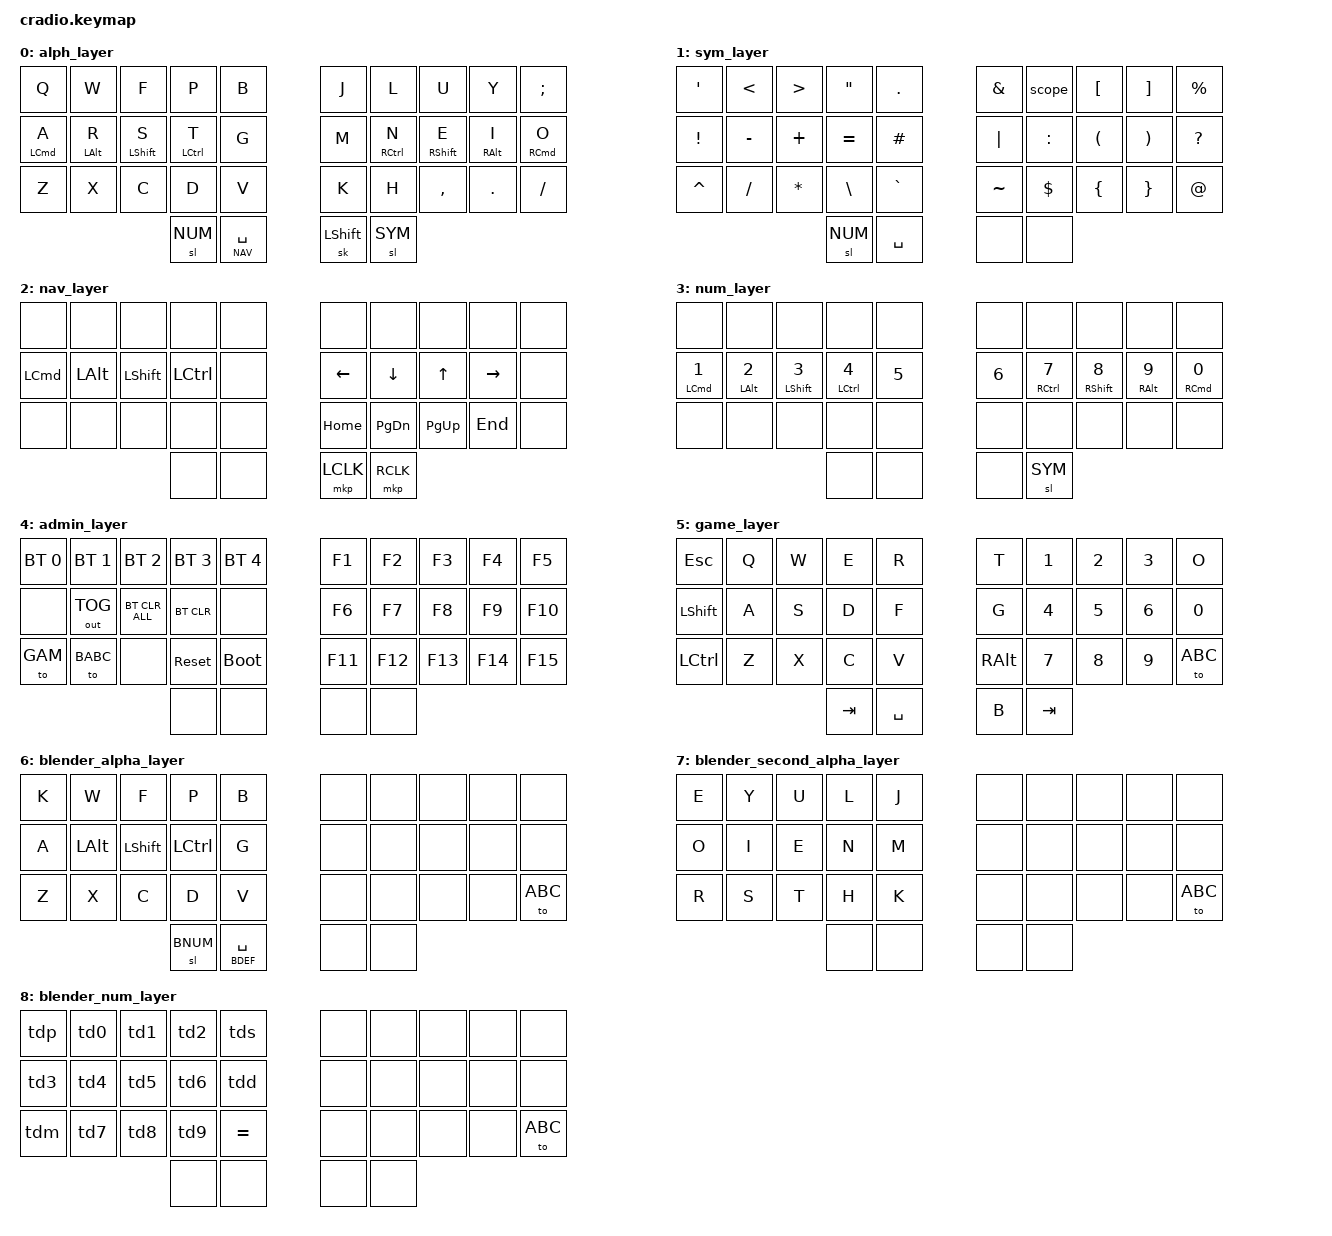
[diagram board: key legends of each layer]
// Copyright (c) 2022 The ZMK Contributors
// SPDX-License-Identifier: MIT

#include <behaviors.dtsi>
#include <dt-bindings/zmk/bt.h>
#include <dt-bindings/zmk/keys.h>
#include <dt-bindings/zmk/mouse.h>
#include <dt-bindings/zmk/outputs.h>

#define ABC 0
#define SYM 1
#define NAV 2
#define NUM 3
#define ADM 4

#define GAM 5

#define BABC 6
#define BDEF 7
#define BNUM 8

/* clang-format off */

&sk {
	release-after-ms = <900>;
	quick-release;
};

&caps_word {
	/delete-property/ ignore-modifiers;
	continue-list = <UNDERSCORE MINUS BACKSPACE DELETE LSHFT RSHFT>;
};
// LAYER TEMPLATE & KEY INDICES \\

/* ╭───────────────┬───────────────┬───────────────┬───────────────┬───────────────╮╭───────────────┬───────────────┬───────────────┬───────────────┬───────────────╮
   │               │               │               │               │               ││               │               │               │               │               │
   │       0       │       1       │       2       │       3       │       4       ││       5       │       6       │       7       │       8       │       9       │
   │               │               │               │               │               ││               │               │               │               │               │
   │               │               │               │               │               ││               │               │               │               │               │ */
   // &none        &none           &none           &none           &none            &none           &none           &none           &none           &none
/* ├───────────────┼───────────────┼───────────────┼───────────────┼───────────────┤├───────────────┼───────────────┼───────────────┼───────────────┼───────────────┤
   │               │               │               │               │               ││               │               │               │               │               │
   │      10       │      11       │      12       │      13       │      14       ││      15       │      16       │      17       │      18       │      19       │
   │               │               │               │               │               ││               │               │               │               │               │
   │               │               │               │               │               ││               │               │               │               │               │ */
   // &none        &none           &none           &none           &none            &none           &none           &none           &none           &none
/* ├───────────────┼───────────────┼───────────────┼───────────────┼───────────────┤├───────────────┼───────────────┼───────────────┼───────────────┼───────────────┤
   │               │               │               │               │               ││               │               │               │               │               │
   │      20       │      21       │      22       │      23       │      24       ││      25       │      26       │      27       │      28       │      29       │
   │               │               │               │               │               ││               │               │               │               │               │
   │               │               │               │               │               ││               │               │               │               │               │ */
   // &none        &none           &none           &none           &none            &none           &none           &none           &none           &none
/* ╰───────────────┴───────────────┴───────────────┼───────────────┼───────────────┤├───────────────┼───────────────┼───────────────┴───────────────┴───────────────╯
                                                   │               │               ││               │               │
                                                   │      30       │       31      ││      32       │      33       │
                                                   │               │               ││               │               │
                                                   │               │               ││               │               │                                                 */
			                                       // &none        &none            &none           &none
/*                                                 ╰───────────────┴───────────────╯╰───────────────┴───────────────╯                                                 */

/ {
	combos {
		compatible = "zmk,combos";
		combo_esc {
			timeout-ms = <25>;
			key-positions = <1 2>;
			layers = <0 1 2 3 4 6 7 8>;
			bindings = <&kp ESC>;
		};

		combo_tab {
			timeout-ms = <25>;
			key-positions = <11 12>;
			layers = <0 1 2 3 4 6 7 8>;
			bindings = <&kp TAB>;
		};

		combo_ret {
			timeout-ms = <25>;
			key-positions = <17 18>;
			layers = <0 1 2 3 4>;
			bindings = <&kp RET>;
		};

		combo_bspc {
			timeout-ms = <25>;
			key-positions = <7 8>;
			layers = <0 1 2 3 4>;
			bindings = <&kp BSPC>;
		};

		combo_del {
			timeout-ms = <25>;
			key-positions = <8 9>;
			layers = <0 1 2 3 4>;
			bindings = <&kp DEL>;
		};

		combo_caps_word {
			timeout-ms = <25>;
			key-positions = <10 11>;
			layers = <0 1 2 3 4>;
			bindings = <&caps_word>;
		};

		combo_apos {
			timeout-ms = <25>;
			key-positions = <27 28>;
			layers = <0 1 2 3 4>;
			bindings = <&kp APOS>;
		};

		combo_under {
			timeout-ms = <25>;
			key-positions = <21 22>;
			layers = <0 1 2 3 4>;
			bindings = <&kp UNDER>;
		};

		combo_admin {
			timeout-ms = <25>;
			key-positions = <31 32>;
			layers = <0 1 2 3 4>;
			bindings = <&mo ADM>;
		};
	};
};

/ {
	macros {

	scope:
		scope {
			compatible = "zmk,behavior-macro";
			wait-ms = <0>;
			tap-ms = <0>;
            #binding-cells = <0>;
			bindings = < &macro_tap &kp COLON >, < &macro_tap &kp COLON > ;
		};

	};
};

#define KEYS_L 0 1 2 3 4 10 11 12 13 14 20 21 22 23 24 // left hand
#define KEYS_R 5 6 7 8 9 15 16 17 18 19 25 26 27 28 29 // right hand
#define THUMBS 30 31 32 33                             // thumbs

/ {
	behaviors {
	ht:
		hold_tap {
			compatible = "zmk,behavior-hold-tap";
			#binding-cells = <2>;
			flavor = "tap-preferred";
			tapping-term-ms = <200>;
			quick-tap-ms = <175>;
			require-prior-idle-ms = <100>;
			bindings = <&kp>, <&kp>;
		};

	hm:
		home_row_mod {
			compatible = "zmk,behavior-hold-tap";
			#binding-cells = <2>;
			flavor = "hold-preferred";
			tapping-term-ms = <200>;
			quick-tap-ms = <175>;
			require-prior-idle-ms = <100>;
			bindings = <&kp>, <&kp>;
		};

	hml:
		home_row_mod_left {
			compatible = "zmk,behavior-hold-tap";
			#binding-cells = <2>;
			flavor = "balanced";
			tapping-term-ms = <280>;
			quick-tap-ms = <175>;
			require-prior-idle-ms = <100>;
			bindings = <&kp>, <&kp>;
			hold-trigger-key-positions = <KEYS_R THUMBS>;
			hold-trigger-on-release;
		};

	hmr:
		home_row_mod_right {
			compatible = "zmk,behavior-hold-tap";
			#binding-cells = <2>;
			flavor = "balanced";
			tapping-term-ms = <280>;
			quick-tap-ms = <175>;
			require-prior-idle-ms = <100>;
			bindings = <&kp>, <&kp>;
			hold-trigger-key-positions = <KEYS_L THUMBS>;
			hold-trigger-on-release;
		};

	td0:
		tap_dance_0 {
			compatible = "zmk,behavior-tap-dance";
			#binding-cells = <0>;
			tapping-term-ms = <200>;
			bindings = <&kp N0>, <&kp KP_N0>;
		};

	td1:
		tap_dance_1 {
			compatible = "zmk,behavior-tap-dance";
			#binding-cells = <0>;
			tapping-term-ms = <200>;
			bindings = <&kp N1>, <&kp KP_N1>;
		};

	td2:
		tap_dance_2 {
			compatible = "zmk,behavior-tap-dance";
			#binding-cells = <0>;
			tapping-term-ms = <200>;
			bindings = <&kp N2>, <&kp KP_N2>;
		};

	td3:
		tap_dance_3 {
			compatible = "zmk,behavior-tap-dance";
			#binding-cells = <0>;
			tapping-term-ms = <200>;
			bindings = <&kp N3>, <&kp KP_N3>;
		};

	td4:
		tap_dance_4 {
			compatible = "zmk,behavior-tap-dance";
			#binding-cells = <0>;
			tapping-term-ms = <200>;
			bindings = <&kp N4>, <&kp KP_N4>;
		};

	td5:
		tap_dance_5 {
			compatible = "zmk,behavior-tap-dance";
			#binding-cells = <0>;
			tapping-term-ms = <200>;
			bindings = <&kp N5>, <&kp KP_N5>;
		};

	td6:
		tap_dance_6 {
			compatible = "zmk,behavior-tap-dance";
			#binding-cells = <0>;
			tapping-term-ms = <200>;
			bindings = <&kp N6>, <&kp KP_N6>;
		};

	td7:
		tap_dance_7 {
			compatible = "zmk,behavior-tap-dance";
			#binding-cells = <0>;
			tapping-term-ms = <200>;
			bindings = <&kp N7>, <&kp KP_N7>;
		};

	td8:
		tap_dance_8 {
			compatible = "zmk,behavior-tap-dance";
			#binding-cells = <0>;
			tapping-term-ms = <200>;
			bindings = <&kp N8>, <&kp KP_N8>;
		};

	td9:
		tap_dance_9 {
			compatible = "zmk,behavior-tap-dance";
			#binding-cells = <0>;
			tapping-term-ms = <200>;
			bindings = <&kp N9>, <&kp KP_N9>;
		};

	tdd:
		tap_dance_dot {
			compatible = "zmk,behavior-tap-dance";
			#binding-cells = <0>;
			tapping-term-ms = <200>;
			bindings = <&kp DOT>, <&kp KP_DOT>;
		};

	tdp:
		tap_dance_plus {
			compatible = "zmk,behavior-tap-dance";
			#binding-cells = <0>;
			tapping-term-ms = <200>;
			bindings = <&kp PLUS>, <&kp KP_PLUS>;
		};

	tdm:
		tap_dance_minus {
			compatible = "zmk,behavior-tap-dance";
			#binding-cells = <0>;
			tapping-term-ms = <200>;
			bindings = <&kp MINUS>, <&kp KP_MINUS>;
		};

	tds:
		tap_dance_slash {
			compatible = "zmk,behavior-tap-dance";
			#binding-cells = <0>;
			tapping-term-ms = <200>;
			bindings = <&kp SLASH>, <&kp KP_SLASH>;
		};

	};

	keymap {
		compatible = "zmk,keymap";

		// LAYOUT: colemak dh
		alph_layer {
			bindings =
			    <
/* ╭───────────────┬───────────────┬───────────────┬───────────────┬───────────────╮╭───────────────┬───────────────┬───────────────┬───────────────┬───────────────╮
   │               │               │               │               │               ││               │               │               │               │               │
   │       Q       │       W       │       F       │       P       │       B       ││       J       │       L       │       U       │       Y       │      ; :      │
   │               │               │               │               │               ││               │               │               │               │               │
   │               │               │               │               │               ││               │               │               │               │               │ */
   &kp Q 		   &kp W 		   &kp F 		   &kp P 		   &kp B 		    &kp J 			&kp L 			&kp U 			&kp Y 			&kp SEMICOLON
/* ├───────────────┼───────────────┼───────────────┼───────────────┼───────────────┤├───────────────┼───────────────┼───────────────┼───────────────┼───────────────┤
   │               │               │               │               │               ││               │               │               │               │               │
   │       A       │       R       │       S       │       T       │       G       ││       M       │       N       │       E       │       I       │       O       │
   │   -COMMAND-   │     -ALT-     │    -SHIFT-    │   -CONTROL-   │               ││               │   -CONTROL-   │    -SHIFT-    │     -ALT-     │   -COMMAND-   │
   │               │               │               │               │               ││               │               │               │               │               │ */
   &hml LCMD A     &hml LALT R     &hml LSHFT S    &hml LCTRL T    &kp G            &kp M           &hmr RCTRL N    &hmr RSHFT E    &hmr RALT I     &hmr RCMD O
/* ├───────────────┼───────────────┼───────────────┼───────────────┼───────────────┤├───────────────┼───────────────┼───────────────┼───────────────┼───────────────┤
   │               │               │               │               │               ││               │               │               │               │               │
   │       Z       │       X       │       C       │       D       │       V       ││       K       │       H       │      , <      │      . >      │      / ?      │
   │               │               │               │               │               ││               │               │               │               │               │
   │               │               │               │               │               ││               │               │               │               │               │ */
   &kp Z           &kp X           &kp C           &kp D           &kp V           &kp K            &kp H           &kp COMMA       &kp DOT         &kp FSLH
/* ╰───────────────┴───────────────┴───────────────┼───────────────┼───────────────┤├───────────────┼───────────────┼───────────────┴───────────────┴───────────────╯
                                                   │               │               ││               │               │
                                                   │  STICKY NUM   │     SPACE     ││  STICKY SHFT  │  STICKY SYM   │
                                                   │               │  -NAV LAYER-  ││               │               │
                                                   │               │               ││               │               │                                                 */
			                                       &sl NUM         &lt NAV SPACE    &sk LSHFT       &sl SYM
/*                                                 ╰───────────────┴───────────────╯╰───────────────┴───────────────╯                                                 */
			        > ;
		};

		sym_layer {
			bindings =
			    <
/* ╭───────────────┬───────────────┬───────────────┬───────────────┬───────────────╮╭───────────────┬───────────────┬───────────────┬───────────────┬───────────────╮
   │               │               │               │               │               ││               │               │               │               │               │
   │       '       │       <       │       >       │       "       │       .       ││       &       │       ::      │       [       │       ]       │       %       │
   │               │               │               │               │               ││               │               │               │               │               │
   │               │               │               │               │               ││               │               │               │               │               │ */
   &kp APOS        &kp LT          &kp GT          &kp DQT         &kp DOT          &kp AMPS        &scope          &kp LBKT        &kp RBKT        &kp PRCNT
/* ├───────────────┼───────────────┼───────────────┼───────────────┼───────────────┤├───────────────┼───────────────┼───────────────┼───────────────┼───────────────┤
   │               │               │               │               │               ││               │               │               │               │               │
   │       !       │       -       │       +       │       =       │       #       ││       |       │       :       │       (       │       )       │       ?       │
   │               │               │               │               │               ││               │               │               │               │               │
   │               │               │               │               │               ││               │               │               │               │               │ */
   &kp EXCL        &kp MINUS       &kp PLUS        &kp EQUAL       &kp POUND        &kp PIPE        &kp COLON       &kp LPAR        &kp RPAR        &kp QMARK
/* ├───────────────┼───────────────┼───────────────┼───────────────┼───────────────┤├───────────────┼───────────────┼───────────────┼───────────────┼───────────────┤
   │               │               │               │               │               ││               │               │               │               │               │
   │       ^       │       /       │       *       │       \       │       `       ││       ~       │       $       │       {       │       }       │       @       │
   │               │               │               │               │               ││               │               │               │               │               │
   │               │               │               │               │               ││               │               │               │               │               │ */
   &kp CARET       &kp FSLH        &kp STAR        &kp BSLH        &kp GRAVE        &kp TILDE       &kp DLLR        &kp LBRC        &kp RBRC        &kp AT
/* ╰───────────────┴───────────────┴───────────────┼───────────────┼───────────────┤├───────────────┼───────────────┼───────────────┴───────────────┴───────────────╯
                                                   │               │               ││               │               │
                                                   │  STICKY NUM   │     SPACE     ││               │               │
                                                   │               │               ││               │               │
                                                   │               │               ││               │               │ */
                                                   &sl NUM         &kp SPACE        &none           &none
                                                /* ╰───────────────┴───────────────╯╰───────────────┴───────────────╯ */
			        > ;
		};

		nav_layer {
			bindings =
			    <
/* ╭───────────────┬───────────────┬───────────────┬───────────────┬───────────────╮╭───────────────┬───────────────┬───────────────┬───────────────┬───────────────╮
   │               │               │               │               │               ││               │               │               │               │               │
   │               │               │               │               │               ││               │               │               │               │               │
   │               │               │               │               │               ││               │               │               │               │               │
   │               │               │               │               │               ││               │               │               │               │               │ */
   &none           &none           &none           &none           &none            &none           &none           &none           &none           &none
/* ├───────────────┼───────────────┼───────────────┼───────────────┼───────────────┤├───────────────┼───────────────┼───────────────┼───────────────┼───────────────┤
   │               │               │               │               │               ││               │               │               │               │               │
   │    COMMAND    │      ALT      │     SHIFT     │    CONTROL    │               ││       ←       │       ↓       │       ↑       │       →       │               │
   │               │               │               │               │               ││               │               │               │               │               │
   │               │               │               │               │               ││               │               │               │               │               │ */
   &kp LCMD        &kp LALT        &kp LSHFT       &kp LCTRL       &none            &kp LEFT        &kp DOWN        &kp UP          &kp RIGHT       &none
/* ├───────────────┼───────────────┼───────────────┼───────────────┼───────────────┤├───────────────┼───────────────┼───────────────┼───────────────┼───────────────┤
   │               │               │               │               │               ││               │               │               │               │               │
   │               │               │               │               │               ││     HOME      │   PAGE DOWN   │   PAGE UP     │      END      │               │
   │               │               │               │               │               ││               │               │               │               │               │
   │               │               │               │               │               ││               │               │               │               │               │ */
   &none           &none           &none           &none           &none            &kp HOME        &kp PAGE_DOWN   &kp PAGE_UP     &kp END         &none
/* ╰───────────────┴───────────────┴───────────────┼───────────────┼───────────────┤├───────────────┼───────────────┼───────────────┴───────────────┴───────────────╯
            									   │               │               ││               │               │
            									   │               │               ││  LEFT CLICK   │  RIGHT CLICK  │
            									   │               │               ││               │               │
            									   │               │               ││               │               │ */
			                                       &none           &none            &mkp LCLK       &mkp RCLK
                                                /* ╰───────────────┴───────────────╯╰───────────────┴───────────────╯ */
			        > ;
		};

		num_layer {
			bindings =
			    <
/* ╭───────────────┬───────────────┬───────────────┬───────────────┬───────────────╮╭───────────────┬───────────────┬───────────────┬───────────────┬───────────────╮
   │               │               │               │               │               ││               │               │               │               │               │
   │               │               │               │               │               ││               │               │               │               │               │
   │               │               │               │               │               ││               │               │               │               │               │
   │               │               │               │               │               ││               │               │               │               │               │ */
   &none           &none           &none           &none           &none            &none           &none           &none           &none           &none
/* ├───────────────┼───────────────┼───────────────┼───────────────┼───────────────┤├───────────────┼───────────────┼───────────────┼───────────────┼───────────────┤
   │               │               │               │               │               ││               │               │               │               │               │
   │       1       │       2       │       3       │       4       │       5       ││       6       │       7       │       8       │       9       │       0       │
   │               │               │               │               │               ││               │               │               │               │               │
   │               │               │               │               │               ││               │               │               │               │               │ */
   &hml LCMD N1    &hml LALT N2    &hml LSHFT N3   &hml LCTRL N4   &kp N5           &kp N6          &hmr RCTRL N7   &hmr RSHFT N8   &hmr RALT N9    &hmr RCMD N0
/* ├───────────────┼───────────────┼───────────────┼───────────────┼───────────────┤├───────────────┼───────────────┼───────────────┼───────────────┼───────────────┤
   │               │               │               │               │               ││               │               │               │               │               │
   │               │               │               │               │               ││               │               │               │               │               │
   │               │               │               │               │               ││               │               │               │               │               │
   │               │               │               │               │               ││               │               │               │               │               │ */
   &none           &none           &none           &none           &none            &none           &none           &none           &none           &none
/* ╰───────────────┴───────────────┴───────────────┼───────────────┼───────────────┤├───────────────┼───────────────┼───────────────┴───────────────┴───────────────╯
                                                   │               │               ││               │               │
                    							   │               │               ││               │               │
                    							   │               │               ││               │               │
                    							   │               │               ││               │               │*/
			       								   &none           &none            &none           &sl SYM
			                                    /* ╰───────────────┴───────────────╯╰───────────────┴───────────────╯ */
			        > ;
		};

		admin_layer {
			bindings =
			    <
/* ╭───────────────┬───────────────┬───────────────┬───────────────┬───────────────╮╭───────────────┬───────────────┬───────────────┬───────────────┬───────────────╮
   │               │               │               │               │               ││               │               │               │               │               │
   │  BTSELECT 0   │  BT SELECT 1  │  BT SELECT 2  │  BT SELECT 3  │  BT SELECT 4  ││      F1       │      F2       │       F3      │      F4       │      F5       │
   │               │               │               │               │               ││               │               │               │               │               │
   │               │               │               │               │               ││               │               │               │               │               │ */
   &bt BT_SEL 0    &bt BT_SEL 1    &bt BT_SEL 2    &bt BT_SEL 3    &bt BT_SEL 4     &kp F1          &kp F2          &kp F3          &kp F4          &kp F5
/* ├───────────────┼───────────────┼───────────────┼───────────────┼───────────────┤├───────────────┼───────────────┼───────────────┼───────────────┼───────────────┤
   │               │               │               │               │               ││               │               │               │               │               │
   │               │ TOGGLEOUTPUT  │ BT CLEAR ALL  │   BT CLEAR    │               ││      F6       │      F7       │      F8       │      F9       │      F10      │
   │               │     MODE      │               │   CURRENT     │               ││               │               │               │               │               │
   │               │               │               │               │               ││               │               │               │               │               │ */
   &none           &out OUT_TOG    &bt BT_CLR_ALL  &bt BT_CLR      &none            &kp F6          &kp F7          &kp F8          &kp F9          &kp F10
/* ├───────────────┼───────────────┼───────────────┼───────────────┼───────────────┤├───────────────┼───────────────┼───────────────┼───────────────┼───────────────┤
   │               │               │               │               │               ││               │               │               │               │               │
   │     GAME      │    BLENDER    │               │   KEYBOARD    │   KEYBOARD    ││      F11      │      F12      │      F13      │      F14      │      F15      │
   │     LAYER     │     MODE      │               │    REBOOT     │   BOOT MODE   ││               │               │               │               │               │
   │               │               │               │               │               ││               │               │               │               │               │ */
   &to GAM         &to BABC           &none           &sys_reset      &bootloader      &kp F11         &kp F12         &kp F13         &kp F14         &kp F15
/* ╰───────────────┴───────────────┴───────────────┼───────────────┼───────────────┤├───────────────┼───────────────┼───────────────┴───────────────┴───────────────╯
    											   │               │               ││               │               │
    											   │               │               ││               │               │
    											   │               │               ││               │               │
    											   │               │               ││               │               │ */
			        							   &none           &none            &none           &none
			                                    /* ╰───────────────┴───────────────╯╰───────────────┴───────────────╯ */
			        > ;
		};

		game_layer {
			bindings =
			    <
/* ╭───────────────┬───────────────┬───────────────┬───────────────┬───────────────╮╭───────────────┬───────────────┬───────────────┬───────────────┬───────────────╮
   │               │               │               │               │               ││               │               │               │               │               │
   │      ESC      │       Q       │       W       │       E       │       R       ││       T       │       1       │       2       │       3       │       O       │
   │               │               │               │               │               ││               │               │               │               │               │
   │               │               │               │               │               ││               │               │               │               │               │ */
   &kp ESC         &kp Q           &kp W           &kp E           &kp R            &kp T           &kp N1          &kp N2          &kp N3          &kp O
/* ├───────────────┼───────────────┼───────────────┼───────────────┼───────────────┤├───────────────┼───────────────┼───────────────┼───────────────┼───────────────┤
   │               │               │               │               │               ││               │               │               │               │               │
   │     SHIFT     │       A       │       S       │       D       │       F       ││       G       │       4       │       5       │       6       │       0       │
   │               │               │               │               │               ││               │               │               │               │               │
   │               │               │               │               │               ││               │               │               │               │               │ */
   &kp LSHFT       &kp A           &kp S           &kp D           &kp F            &kp G           &kp N4          &kp N5          &kp N6          &kp N0
/* ├───────────────┼───────────────┼───────────────┼───────────────┼───────────────┤├───────────────┼───────────────┼───────────────┼───────────────┼───────────────┤
   │               │               │               │               │               ││               │               │               │               │               │
   │    CONTROL    │       Z       │       X       │       C       │       V       ││      ALT      │       7       │       8       │       9       │  ALPHA LAYER  │
   │               │               │               │               │               ││               │               │               │               │               │
   │               │               │               │               │               ││               │               │               │               │               │ */
   &kp LCTRL       &kp Z           &kp X           &kp C           &kp V            &kp RALT        &kp N7          &kp N8          &kp N9          &to ABC
/* ╰───────────────┴───────────────┴───────────────┼───────────────┼───────────────┤├───────────────┼───────────────┼───────────────┴───────────────┴───────────────╯
                                                   │               │               ││               │               │
                                                   │      TAB      │     SPACE     ││       B       │      TAB      │
                                                   │               │               ││               │               │
                                                   │               │               ││               │               │ */
			        							   &kp TAB         &kp SPACE        &kp B           &kp TAB
			                                    /* ╰───────────────┴───────────────╯╰───────────────┴───────────────╯ */
			        > ;
		};

		blender_alpha_layer {
			bindings =
			    <
/* ╭───────────────┬───────────────┬───────────────┬───────────────┬───────────────╮╭───────────────┬───────────────┬───────────────┬───────────────┬───────────────╮
   │               │               │               │               │               ││               │               │               │               │               │
   │       K       │       W       │       F       │       P       │       B       ││               │               │               │               │               │
   │               │               │               │               │               ││               │               │               │               │               │
   │               │               │               │               │               ││               │               │               │               │               │ */
   &kp K 		   &kp W 		   &kp F 		   &kp P 		   &kp B 		    &none 			&none 			&none 			&none 			&none
/* ├───────────────┼───────────────┼───────────────┼───────────────┼───────────────┤├───────────────┼───────────────┼───────────────┼───────────────┼───────────────┤
   │               │               │               │               │               ││               │               │               │               │               │
   │       A       │      ALT      │     SHIFT     │    CONTROL    │       G       ││               │               │               │               │               │
   │               │               │               │               │               ││               │               │               │               │               │
   │               │               │               │               │               ││               │               │               │               │               │ */
   &kp A           &kp LALT        &kp LSHFT       &kp LCTRL       &kp G            &none           &none           &none           &none           &none           
/* ├───────────────┼───────────────┼───────────────┼───────────────┼───────────────┤├───────────────┼───────────────┼───────────────┼───────────────┼───────────────┤
   │               │               │               │               │               ││               │               │               │               │               │
   │       Z       │       X       │       C       │       D       │       V       ││               │               │               │               │  ALPHA LAYER  │
   │               │               │               │               │               ││               │               │               │               │               │
   │               │               │               │               │               ││               │               │               │               │               │ */
   &kp Z           &kp X           &kp C           &kp D           &kp V            &none           &none           &none           &none           &to ABC
/* ╰───────────────┴───────────────┴───────────────┼───────────────┼───────────────┤├───────────────┼───────────────┼───────────────┴───────────────┴───────────────╯
                                                   │               │               ││               │               │
                                                   │  STICKY BNUM  │     SPACE     ││               │               │
                                                   │               │  -BNAV LAYER- ││               │               │
                                                   │               │               ││               │               │                                                 */
			                                       &sl BNUM        &lt BDEF SPACE   &none           &none
/*                                                 ╰───────────────┴───────────────╯╰───────────────┴───────────────╯                                                 */
			        > ;
		};

		blender_second_alpha_layer {
			bindings =
			    <
/* ╭───────────────┬───────────────┬───────────────┬───────────────┬───────────────╮╭───────────────┬───────────────┬───────────────┬───────────────┬───────────────╮
   │               │               │               │               │               ││               │               │               │               │               │
   │       E       │       Y       │       U       │       L       │       J       ││               │               │               │               │               │
   │               │               │               │               │               ││               │               │               │               │               │
   │               │               │               │               │               ││               │               │               │               │               │ */
   &kp E 		   &kp Y		   &kp U          &kp L		       &kp J   		    &none 			&none 			&none 			&none 			&none
/* ├───────────────┼───────────────┼───────────────┼───────────────┼───────────────┤├───────────────┼───────────────┼───────────────┼───────────────┼───────────────┤
   │               │               │               │               │               ││               │               │               │               │               │
   │       O       │       I       │       E       │       N       │       M       ││               │               │               │               │               │
   │               │               │               │               │               ││               │               │               │               │               │
   │               │               │               │               │               ││               │               │               │               │               │ */
   &kp O           &kp I           &kp E           &kp N           &kp M            &none           &none           &none           &none           &none           
/* ├───────────────┼───────────────┼───────────────┼───────────────┼───────────────┤├───────────────┼───────────────┼───────────────┼───────────────┼───────────────┤
   │               │               │               │               │               ││               │               │               │               │               │
   │       R       │       S       │       T       │       H       │       K       ││               │               │               │               │               │
   │               │               │               │               │               ││               │               │               │               │               │
   │               │               │               │               │               ││               │               │               │               │               │ */
   &kp R           &kp S           &kp T           &kp H           &kp K            &none           &none           &none           &none           &to ABC
/* ╰───────────────┴───────────────┴───────────────┼───────────────┼───────────────┤├───────────────┼───────────────┼───────────────┴───────────────┴───────────────╯
                                                   │               │               ││               │               │
                                                   │               │               ││               │               │
                                                   │               │               ││               │               │
                                                   │               │               ││               │               │                                                 */
			                                       &none           &none            &none           &none
/*                                                 ╰───────────────┴───────────────╯╰───────────────┴───────────────╯                                                 */
			        > ;
		};

		blender_num_layer {
			bindings =
			    <
/* ╭───────────────┬───────────────┬───────────────┬───────────────┬───────────────╮╭───────────────┬───────────────┬───────────────┬───────────────┬───────────────╮
   │               │               │               │               │               ││               │               │               │               │               │
   │       +       │       1       │       2       │       3       │       /       ││               │               │               │               │               │
   │       +*      │       1*      │       2*      │       3*      │       /*      ││               │               │               │               │               │
   │               │               │               │               │               ││               │               │               │               │               │ */
   &tdp            &td0            &td1        	   &td2        	   &tds        	    &none 			&none 			&none 			&none 			&none
/* ├───────────────┼───────────────┼───────────────┼───────────────┼───────────────┤├───────────────┼───────────────┼───────────────┼───────────────┼───────────────┤
   │               │               │               │               │               ││               │               │               │               │               │
   │       0       │       4       │       5       │       6       │       .       ││               │               │               │               │               │
   │       0*      │       4*      │       5*      │       6*      │       .*      ││               │               │               │               │               │
   │               │               │               │               │               ││               │               │               │               │               │ */
   &td3            &td4            &td5            &td6            &tdd             &none           &none           &none           &none           &none           
/* ├───────────────┼───────────────┼───────────────┼───────────────┼───────────────┤├───────────────┼───────────────┼───────────────┼───────────────┼───────────────┤
   │               │               │               │               │               ││               │               │               │               │               │
   │       -       │       7       │       8       │       9       │       =       ││               │               │               │               │               │
   │       -*      │       7*      │       8*      │       9*      │               ││               │               │               │               │               │
   │               │               │               │               │               ││               │               │               │               │               │ */
   &tdm            &td7            &td8            &td9            &kp EQUAL        &none           &none           &none           &none           &to ABC
/* ╰───────────────┴───────────────┴───────────────┼───────────────┼───────────────┤├───────────────┼───────────────┼───────────────┴───────────────┴───────────────╯
                                                   │               │               ││               │               │
                                                   │               │               ││               │               │
                                                   │               │               ││               │               │
                                                   │               │               ││               │               │                                                 */
			                                       &none           &none            &none           &none
/*                                                 ╰───────────────┴───────────────╯╰───────────────┴───────────────╯                                                 */
			        > ;
		};

	};
};


